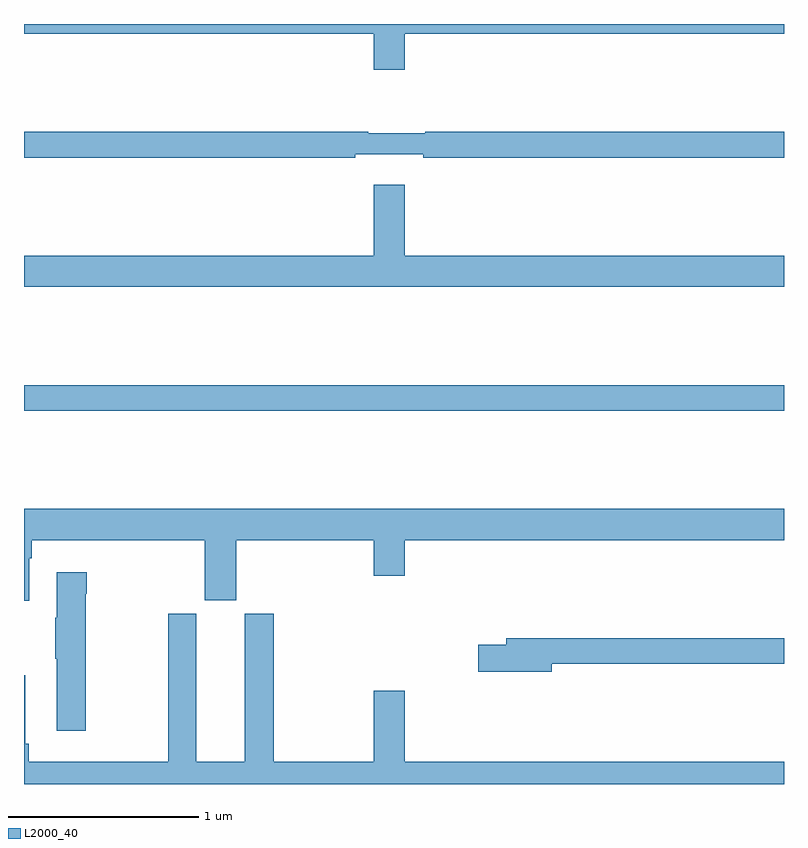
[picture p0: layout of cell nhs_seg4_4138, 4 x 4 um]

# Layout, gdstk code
import gdstk
lib = gdstk.Library(unit=1e-6, precision=1e-09)
def R(c, l, rs):  # rectangles x0, y0, x1, y1
    for r in rs: c.add(gdstk.rectangle(r[:2], r[2:], *l))
def P(c, l, *ps):  # polygons
    for p in ps: c.add(gdstk.Polygon(p, *l))
L2000_40 = (2000, 40)

nhs_seg4_4138 = lib.new_cell('nhs_seg4_4138')
R(nhs_seg4_4138, L2000_40, [(331,766.864,335,767)])
P(nhs_seg4_4138, L2000_40, [(333.004,768.848),(335,768.848),(335,768.9),(331,768.9),(331,768.848),(332.84,768.848),(332.84,768.66),(333.004,768.66)],
  [(332.744,768.215),(333.1,768.215),(333.1,768.196),(335,768.196),(335,768.332),(333.113,768.332),(333.113,768.325),(332.813,768.325),(332.813,768.332),(331,768.332),(331,768.196),(332.744,768.196)],
  [(335,767.68),(333.004,767.68),(333.004,768.055),(332.84,768.055),(332.84,767.68),(331,767.68),(331,767.516),(335,767.516)],
  [(331,765.864),(331.027,765.864),(331.027,766.088),(331.04,766.088),(331.04,766.184),(331.952,766.184),(331.952,765.867),(332.116,765.867),(332.116,766.184),(332.84,766.184),(332.84,765.996),(333.004,765.996),(333.004,766.184),(335,766.184),(335,766.348),(331,766.348)],
  [(331.326,765.902),(331.331,765.902),(331.331,766.015),(331.172,766.015),(331.172,765.776),(331.165,765.776),(331.165,765.559),(331.172,765.559),(331.172,765.18),(331.326,765.18)],
  [(335,765.016),(333.004,765.016),(333.004,765.391),(332.84,765.391),(332.84,765.016),(332.315,765.016),(332.315,765.795),(332.162,765.795),(332.162,765.016),(331.906,765.016),(331.906,765.795),(331.759,765.795),(331.759,765.016),(331.025,765.016),(331.025,765.112),(331.006,765.112),(331.006,765.472),(331,765.472),(331,764.9),(335,764.9)],
  [(333.778,765.532),(335,765.532),(335,765.668),(333.539,765.668),(333.539,765.632),(333.39,765.632),(333.39,765.49),(333.778,765.49)])

lib.write_gds('nhs_seg4_4138.gds')
